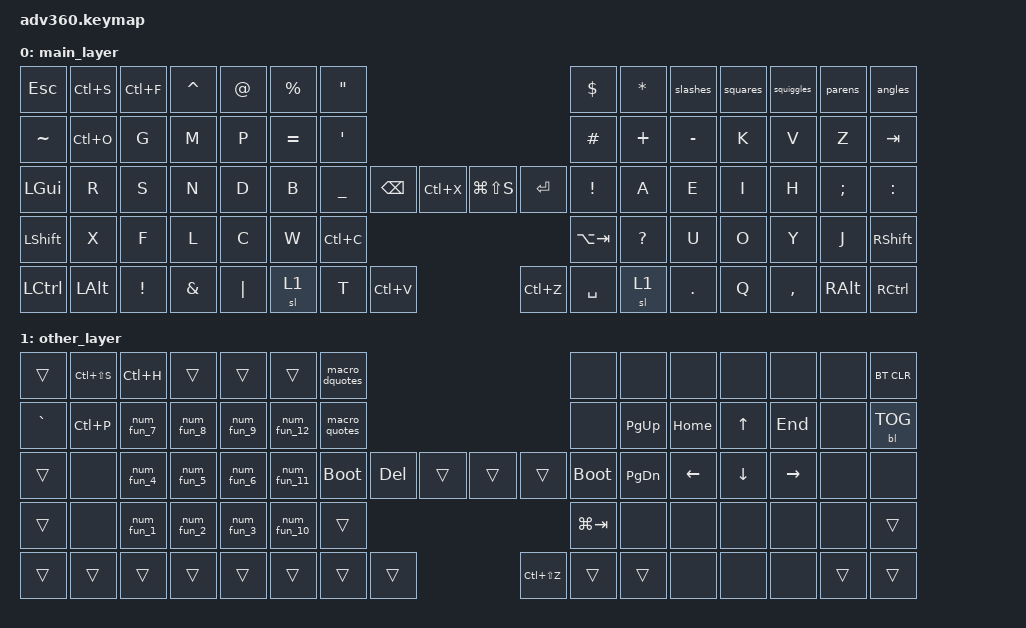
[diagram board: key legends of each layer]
#include <behaviors.dtsi>
#include <dt-bindings/zmk/keys.h>
#include <dt-bindings/zmk/bt.h>
#include <dt-bindings/zmk/rgb.h>
#include <dt-bindings/zmk/backlight.h>

#define U_PST &kp LC(V)
#define U_CPY &kp LC(C)
#define U_CUT &kp LC(X)
#define U_UND &kp LC(Z)
#define U_RDO &kp LC(LS(Z))
#define U_SAVE &kp LC(S)
#define U_SAVEAS &kp LC(LS(S))
#define U_OPEN &kp LC(O)
#define U_FIND &kp LC(F)
#define U_REPLACE &kp LC(H)
#define U_SCRNSHT &kp LG(LS(S))
#define U_NEXTAPP &kp LA(TAB)
#define U_ALLAPPS &kp LG(TAB)
#define U_QUICKOPEN &kp LC(P)


/ {

  keymap {
    compatible = "zmk,keymap";
    main_layer {
      bindings = <
/* ╭────────────────┬────────────────┬────────────────┬────────────────┬────────────────┬────────────────┬────────────────╮                                                                                 ╭────────────────┬────────────────┬────────────────┬────────────────┬────────────────┬────────────────┬────────────────╮  */
        &kp ESC           U_SAVE           U_FIND          &kp CARET         &kp AT        &kp PERCENT         &kp DQT                                                                                         &kp DOLLAR         &kp STAR         &slashes          &squares       &squiggles         &parens          &angles
/* ├────────────────┼────────────────┼────────────────┼────────────────┼────────────────┼────────────────┼────────────────┤                                                                                 ├────────────────┼────────────────┼────────────────┼────────────────┼────────────────┼────────────────┼────────────────┤  */
       &kp TILDE          U_OPEN           &kp G            &kp M            &kp P          &kp EQUAL          &kp SQT                                                                                           &kp HASH         &kp PLUS          &kp MINUS         &kp K            &kp V            &kp Z           &kp TAB
/* ├────────────────┼────────────────┼────────────────┼────────────────┼────────────────┼────────────────┼────────────────┤   ╭────────────────┬────────────────╮     ╭────────────────┬────────────────╮   ├────────────────┼────────────────┼────────────────┼────────────────┼────────────────┼────────────────┼────────────────┤  */
       &kp LGUI           &kp R            &kp S            &kp N            &kp D           &kp B            &kp UNDER            &kp BSPC          U_CUT                 U_SCRNSHT        &kp ENTER            &kp EXCL          &kp A             &kp E            &kp I            &kp H          &kp SEMI         &kp COLON
/* ├────────────────┼────────────────┼────────────────┼────────────────┼────────────────┼────────────────┼────────────────╯   ╰────────────────┼────────────────┤     ├────────────────┼────────────────╯   ╰────────────────┼────────────────┼────────────────┼────────────────┼────────────────┼────────────────┼────────────────┤  */
       &kp LSHFT          &kp X            &kp F            &kp L            &kp C           &kp W                                                   U_CPY                 U_NEXTAPP                                           &kp QUESTION          &kp U            &kp O            &kp Y            &kp J          &kp RSHFT
/* ├────────────────┼────────────────┼────────────────┼────────────────┼────────────────┼────────────────╯   ╭────────────────┬────────────────┼────────────────┤     ├────────────────┼────────────────┬────────────────╮   ╰────────────────┼────────────────┼────────────────┼────────────────┼────────────────┼────────────────┤  */
       &kp LCTRL        &kp LALT        &kp EXCL         &kp AMPS         &kp PIPE                                 &sl 1           &kp T             U_PST                  U_UND           &kp SPACE           &sl 1                                &kp DOT          &kp Q          &kp COMMA        &kp RALT         &kp RCTRL
/* ╰────────────────┴────────────────┴────────────────┴────────────────┴────────────────╯                    ╰────────────────┴────────────────┴────────────────╯     ╰────────────────┴────────────────┴────────────────╯                    ╰────────────────┴────────────────┴────────────────┴────────────────┴────────────────╯  */
      >;
    };
    other_layer {
      bindings = <
/* ╭────────────────┬────────────────┬────────────────┬────────────────┬────────────────┬────────────────┬────────────────╮                                                                                 ╭────────────────┬────────────────┬────────────────┬────────────────┬────────────────┬────────────────┬────────────────╮  */
        &trans           U_SAVEAS          U_REPLACE         &trans           &trans           &trans       &macro_dquotes                                                                                        &none           &none             &none             &none           &none            &none          &bt BT_CLR
/* ├────────────────┼────────────────┼────────────────┼────────────────┼────────────────┼────────────────┼────────────────┤                                                                                 ├────────────────┼────────────────┼────────────────┼────────────────┼────────────────┼────────────────┼────────────────┤  */
       &kp GRAVE        U_QUICKOPEN        &num_fun_7       &num_fun_8       &num_fun_9      &num_fun_12    &macro_quotes                                                                                         &none          &kp PG_UP         &kp HOME          &kp UP          &kp END           &none          &bl BL_TOG
/* ├────────────────┼────────────────┼────────────────┼────────────────┼────────────────┼────────────────┼────────────────┤   ╭────────────────┬────────────────╮     ╭────────────────┬────────────────╮   ├────────────────┼────────────────┼────────────────┼────────────────┼────────────────┼────────────────┼────────────────┤  */
        &trans            &none            &num_fun_4       &num_fun_5       &num_fun_6      &num_fun_11     &bootloader            &kp DEL          &trans                 &trans          &trans             &bootloader       &kp PG_DN         &kp LEFT          &kp DOWN        &kp RIGHT         &none            &none
/* ├────────────────┼────────────────┼────────────────┼────────────────┼────────────────┼────────────────┼────────────────╯   ╰────────────────┼────────────────┤     ├────────────────┼────────────────╯   ╰────────────────┼────────────────┼────────────────┼────────────────┼────────────────┼────────────────┼────────────────┤  */
        &trans            &none            &num_fun_1       &num_fun_2       &num_fun_3      &num_fun_10                                             &trans                U_ALLAPPS                                              &none             &none             &none           &none            &none            &trans
/* ├────────────────┼────────────────┼────────────────┼────────────────┼────────────────┼────────────────╯   ╭────────────────┬────────────────┼────────────────┤     ├────────────────┼────────────────┬────────────────╮   ╰────────────────┼────────────────┼────────────────┼────────────────┼────────────────┼────────────────┤  */
        &trans            &trans           &trans           &trans           &trans                                &trans           &trans           &trans                 U_RDO           &trans           &trans                                 &none             &none           &none            &trans           &trans
/* ╰────────────────┴────────────────┴────────────────┴────────────────┴────────────────╯                    ╰────────────────┴────────────────┴────────────────╯     ╰────────────────┴────────────────┴────────────────╯                    ╰────────────────┴────────────────┴────────────────┴────────────────┴────────────────╯  */
      >;
    };
  };
  behaviors {
      macro_quotes: macro_quotes {
        compatible = "zmk,behavior-macro";
        label = "macro_quotes";
        #binding-cells = <0>;
        bindings = <&kp SQT>, <&kp SQT>, <&kp LEFT>;
      };
      macro_dquotes: macro_dquotes {
        compatible = "zmk,behavior-macro";
        label = "macro_dquotes";
        #binding-cells = <0>;
        bindings = <&kp DQT>, <&kp DQT>, <&kp LEFT>;
      };
      macro_squiggles: macro_squiggles {
        compatible = "zmk,behavior-macro";
        label = "macro_squiggles";
        #binding-cells = <0>;
        bindings = <&kp LBRC>, <&kp RBRC>, <&kp LEFT>;
      };
      macro_parens: macro_parens {
        compatible = "zmk,behavior-macro";
        label = "macro_parens";
        #binding-cells = <0>;
        bindings = <&kp LPAR>, <&kp RPAR>, <&kp LEFT>;
      };
      macro_brackets: macro_brackets {
        compatible = "zmk,behavior-macro";
        label = "macro_brackets";
        #binding-cells = <0>;
        bindings = <&kp LBKT>, <&kp RBKT>, <&kp LEFT>;
      };
      slashes: slashes {
        compatible = "zmk,behavior-mod-morph";
        label = "slashes";
        #binding-cells = <0>;
        bindings = <&kp KP_SLASH>, <&kp BACKSLASH>;
        mods = <(MOD_LSFT|MOD_RSFT)>;
      };
      squares: squares {
        compatible = "zmk,behavior-mod-morph";
        label = "squares";
        #binding-cells = <0>;
        bindings = <&kp LBKT>, <&macro_brackets>;
        mods = <(MOD_LSFT|MOD_RSFT)>;
      };
      squiggles: squiggles {
        compatible = "zmk,behavior-mod-morph";
        label = "squiggles";
        #binding-cells = <0>;
        bindings = <&kp LBRC>, <&macro_squiggles>;
        mods = <(MOD_LSFT|MOD_RSFT)>;
      };
      parens: parens {
        compatible = "zmk,behavior-mod-morph";
        label = "parens";
        #binding-cells = <0>;
        bindings = <&kp LPAR>, <&macro_parens>;
        mods = <(MOD_LSFT|MOD_RSFT)>;
      };
      angles: angles {
        compatible = "zmk,behavior-mod-morph";
        label = "angles";
        #binding-cells = <0>;
        bindings = <&kp LT>, <&kp GT>;
        mods = <(MOD_LSFT|MOD_RSFT)>;
      };
      num_fun_1: num_fun_1 {
        compatible = "zmk,behavior-mod-morph";
        #binding-cells = <0>;
        bindings = <&kp N1>, <&kp F1>;
        mods = <(MOD_LSFT|MOD_RSFT)>;
      };
      num_fun_2: num_fun_2 {
        compatible = "zmk,behavior-mod-morph";
        #binding-cells = <0>;
        bindings = <&kp N2>, <&kp F2>;
        mods = <(MOD_LSFT|MOD_RSFT)>;
      };
      num_fun_3: num_fun_3 {
        compatible = "zmk,behavior-mod-morph";
        #binding-cells = <0>;
        bindings = <&kp N3>, <&kp F3>;
        mods = <(MOD_LSFT|MOD_RSFT)>;
      };
      num_fun_4: num_fun_4 {
        compatible = "zmk,behavior-mod-morph";
        #binding-cells = <0>;
        bindings = <&kp N4>, <&kp F4>;
        mods = <(MOD_LSFT|MOD_RSFT)>;
      };
      num_fun_5: num_fun_5 {
        compatible = "zmk,behavior-mod-morph";
        #binding-cells = <0>;
        bindings = <&kp N5>, <&kp F5>;
        mods = <(MOD_LSFT|MOD_RSFT)>;
      };
      num_fun_6: num_fun_6 {
        compatible = "zmk,behavior-mod-morph";
        #binding-cells = <0>;
        bindings = <&kp N6>, <&kp F6>;
        mods = <(MOD_LSFT|MOD_RSFT)>;
      };
      num_fun_7: num_fun_7 {
        compatible = "zmk,behavior-mod-morph";
        #binding-cells = <0>;
        bindings = <&kp N7>, <&kp F7>;
        mods = <(MOD_LSFT|MOD_RSFT)>;
      };
      num_fun_8: num_fun_8 {
        compatible = "zmk,behavior-mod-morph";
        #binding-cells = <0>;
        bindings = <&kp N8>, <&kp F8>;
        mods = <(MOD_LSFT|MOD_RSFT)>;
      };
      num_fun_9: num_fun_9 {
        compatible = "zmk,behavior-mod-morph";
        #binding-cells = <0>;
        bindings = <&kp N9>, <&kp F9>;
        mods = <(MOD_LSFT|MOD_RSFT)>;
      };
      num_fun_10: num_fun_10 {
        compatible = "zmk,behavior-mod-morph";
        #binding-cells = <0>;
        bindings = <&kp N0>, <&kp F10>;
        mods = <(MOD_LSFT|MOD_RSFT)>;
      };
      num_fun_11: num_fun_11 {
        compatible = "zmk,behavior-mod-morph";
        #binding-cells = <0>;
        bindings = <&kp N1>, <&kp F11>;
        mods = <(MOD_LSFT|MOD_RSFT)>;
      };
      num_fun_12: num_fun_12 {
        compatible = "zmk,behavior-mod-morph";
        #binding-cells = <0>;
        bindings = <&kp N2>, <&kp F12>;
        mods = <(MOD_LSFT|MOD_RSFT)>;
      };
  };
};
